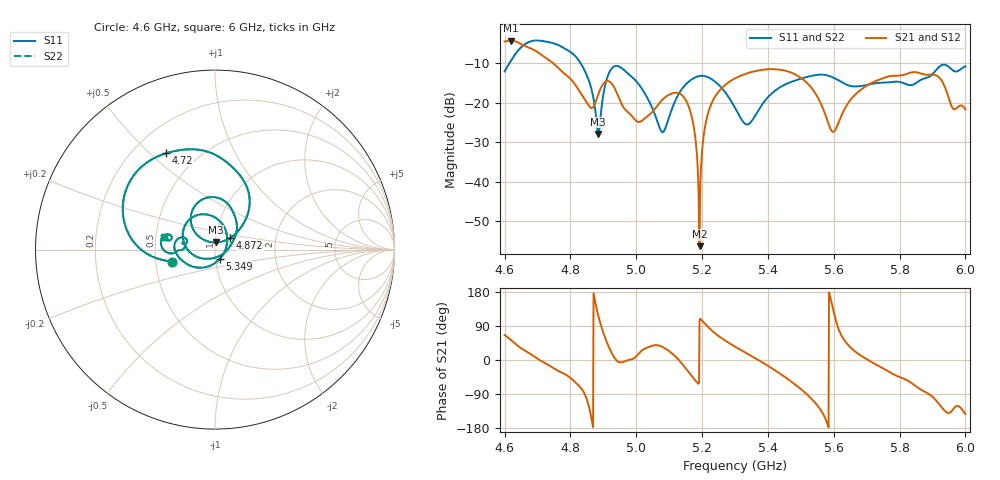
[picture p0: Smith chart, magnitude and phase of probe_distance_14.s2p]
! TOUCHSTONE file generated by CST MICROWAVE STUDIO
! Date and time: Sat Nov 30 13:10:59 2024
! Project name: test_tuning.cst
! Parameters = {airCoaxOuterDiameter=3; chamferAngle=45; chamferWidth=24; connectorLength=10; drillingHoleDiameter=4.1; feedLength=60; flareDiameter=130; flareLength=70; gratingDistance=0; gratingGap=1.90274; outletLength=30; polarizerLength=134; probe1Diameter=1.3; probe1Distance=14.5; probe1Length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
! Header version: 2024
! Port assignment regex: !\s*Touchstone port\s*([0-9]+)\s*=\s*(CST MWS port|CST DES external port|CST DES block port)\s*(.+)\s* \(\"(.*)\"\)(\s*mode\s*([0-9]+))?.*
! Touchstone port assignment:
! Touchstone port 1 = CST MWS port 1 ("Input1")
! Touchstone port 2 = CST MWS port 2 ("Input2")
# GHz S MA R 50
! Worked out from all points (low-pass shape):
!   1001 points, 4.6 GHz to 6 GHz, reference 50 ohm
!   highest |S21| = -4.24 dB at 4.62 GHz (marker M1); lowest = -56.4 dB at 5.192 GHz (marker M2)
!   |S21| within 3 dB of the highest: start of sweep to 4.702 GHz
!   lowest |S11| = -27.9 dB at 4.884 GHz (marker M3), VSWR 1.08, Z = 50.3 + j4.01 ohm
!   |S11| at or under -10 dB: start of sweep to 4.614386 GHz; 4.831 GHz to end of sweep
!   |S22| runs from -27.9 to -4.2 dB; largest |S21 - S12| = 1e-06
!   S11 on the Smith chart (normalised r, x): 4.6 GHz: 0.61, -0.09; 4.72 GHz: 0.34, +0.56; 4.872 GHz: 1.17, +0.15; 5.349 GHz: 1.05, -0.11; 6 GHz: 0.56, +0.08
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4.6  0.2507 -164.5  0.5977 65.8  0.5977 65.8  0.2507 -164.5
4.6196  0.3431 -172.9  0.6135 52.7  0.6135 52.7  0.3431 -172.9
4.6672  0.5707 154.1  0.5122 22.1  0.5122 22.1  0.5707 154.1
4.7204  0.6016 116.8  0.3823 -7.1  0.3823 -7.1  0.6016 116.8
4.8338  0.3032 50.9  0.1275 -76.0  0.1275 -76.0  0.3031 50.9
4.8716  0.1038 37.5  0.09183 169.8  0.09183 169.8  0.1038 37.5
4.8842  0.04011 83.3  0.1267 118.4  0.1267 118.4  0.04011 83.3
4.9108  0.2023 131.4  0.1886 46.6  0.1886 46.6  0.2023 131.4
4.9402  0.2936 94.5  0.1355 -1.0  0.1355 -1.0  0.2936 94.5
5.0046  0.1779 46.6  0.05735 13.9  0.05735 13.9  0.1779 46.6
5.0676  0.05243 -23.5  0.09602 38.4  0.09602 38.4  0.05243 -23.5
5.153  0.1752 168.6  0.1033 -25.0  0.1033 -25.0  0.1752 168.6
5.1754  0.2061 149.3  0.04785 -49.6  0.04785 -49.6  0.2061 149.3
5.1922  0.2186 134.4  0.00152 103.0  0.00152 103.0  0.2186 134.4
5.2216  0.2074 108.1  0.082 84.4  0.082 84.4  0.2074 108.1
5.3  0.08629 37.9  0.2037 35.3  0.2037 35.3  0.08629 37.9
5.349  0.05742 -60.7  0.2448 10.9  0.2448 10.9  0.05742 -60.7
5.5338  0.2201 -176.5  0.1518 -103.6  0.1518 -103.6  0.2201 -176.5
5.5982  0.2089 162.0  0.04279 133.5  0.04279 133.5  0.2089 162.0
5.7676  0.1818 169.7  0.2164 -30.7  0.2164 -30.7  0.1818 169.7
5.9104  0.2583 -175.7  0.2238 -106.3  0.2238 -106.3  0.2583 -175.7
6  0.2903 166.4  0.08223 -143.0  0.08223 -143.0  0.2903 166.4
